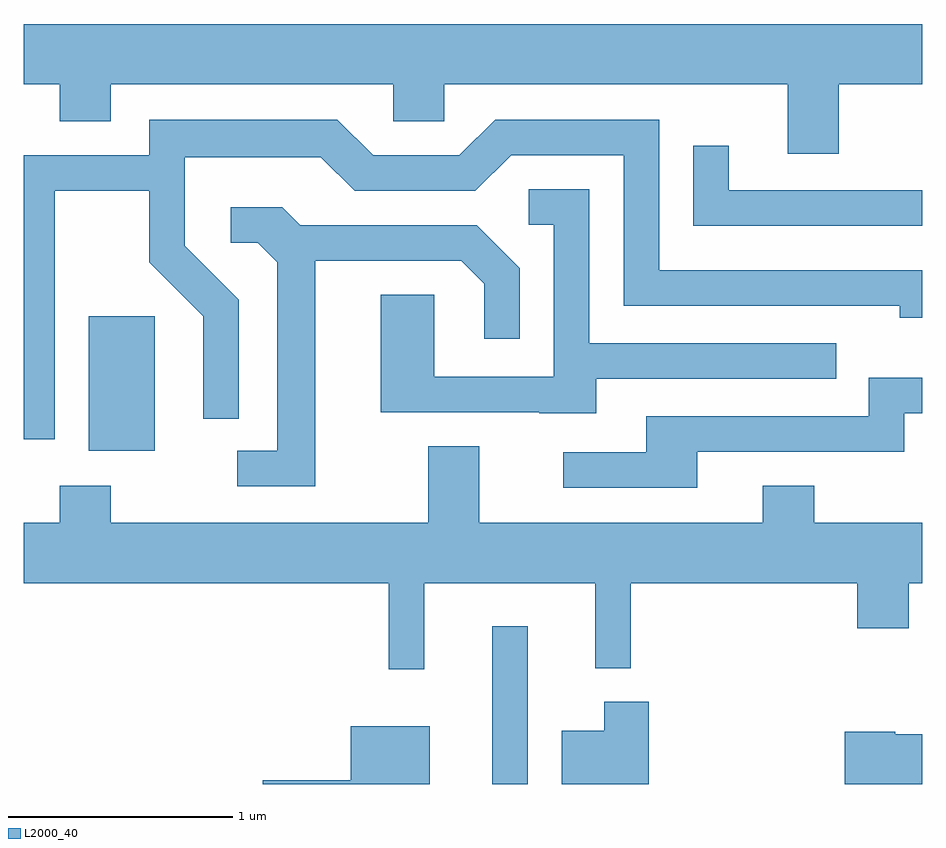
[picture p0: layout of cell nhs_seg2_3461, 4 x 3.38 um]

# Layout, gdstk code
import gdstk
lib = gdstk.Library(unit=1e-6, precision=1e-09)
def R(c, l, rs):  # rectangles x0, y0, x1, y1
    for r in rs: c.add(gdstk.rectangle(r[:2], r[2:], *l))
def P(c, l, *ps):  # polygons
    for p in ps: c.add(gdstk.Polygon(p, *l))
L2000_40 = (2000, 40)

nhs_seg2_3461 = lib.new_cell('nhs_seg2_3461')
R(nhs_seg2_3461, L2000_40, [(287.696,1111.802,287.854,1112.503), (285.901,1113.286,286.194,1113.884)])
P(nhs_seg2_3461, L2000_40, [(289.239,1114.916),(289.611,1114.916),(289.611,1115.184),(285.611,1115.184),(285.611,1114.916),(285.771,1114.916),(285.771,1114.751),(285.999,1114.751),(285.999,1114.916),(287.256,1114.916),(287.256,1114.751),(287.484,1114.751),(287.484,1114.916),(289.011,1114.916),(289.011,1114.606),(289.239,1114.606)],
  [(285.749,1114.441),(286.171,1114.441),(286.171,1114.124),(286.411,1113.884),(286.411,1113.428),(286.569,1113.428),(286.569,1113.957),(286.329,1114.197),(286.329,1114.591),(286.934,1114.591),(287.084,1114.441),(287.622,1114.441),(287.782,1114.601),(288.281,1114.601),(288.281,1113.931),(289.511,1113.931),(289.511,1113.876),(289.611,1113.876),(289.611,1114.089),(288.439,1114.089),(288.439,1114.759),(287.709,1114.759),(287.549,1114.599),(287.167,1114.599),(287.007,1114.759),(286.171,1114.759),(286.171,1114.599),(285.611,1114.599),(285.611,1113.336),(285.749,1113.336)],
  [(289.611,1114.444),(288.749,1114.444),(288.749,1114.643),(288.591,1114.643),(288.591,1114.286),(289.611,1114.286)],
  [(288.159,1113.606),(289.228,1113.606),(289.228,1113.764),(288.129,1113.764),(288.129,1114.449),(287.858,1114.449),(287.858,1114.291),(287.971,1114.291),(287.971,1113.614),(287.439,1113.614),(287.439,1113.979),(287.201,1113.979),(287.201,1113.456),(287.905,1113.456),(287.905,1113.451),(288.159,1113.451)],
  [(286.909,1114.131),(287.559,1114.131),(287.661,1114.029),(287.661,1113.783),(287.819,1113.783),(287.819,1114.097),(287.627,1114.289),(286.842,1114.289),(286.762,1114.369),(286.533,1114.369),(286.533,1114.211),(286.654,1114.211),(286.741,1114.124),(286.741,1113.284),(286.563,1113.284),(286.563,1113.126),(286.909,1113.126)],
  [(288.609,1113.281),(289.529,1113.281),(289.529,1113.451),(289.611,1113.451),(289.611,1113.609),(289.371,1113.609),(289.371,1113.439),(288.381,1113.439),(288.381,1113.279),(288.013,1113.279),(288.013,1113.121),(288.609,1113.121)],
  [(287.394,1112.696),(288.156,1112.696),(288.156,1112.318),(288.314,1112.318),(288.314,1112.696),(289.321,1112.696),(289.321,1112.496),(289.549,1112.496),(289.549,1112.696),(289.611,1112.696),(289.611,1112.964),(289.129,1112.964),(289.129,1113.129),(288.901,1113.129),(288.901,1112.964),(287.639,1112.964),(287.639,1113.304),(287.411,1113.304),(287.411,1112.964),(285.999,1112.964),(285.999,1113.129),(285.771,1113.129),(285.771,1112.964),(285.611,1112.964),(285.611,1112.696),(287.236,1112.696),(287.236,1112.313),(287.394,1112.313)],
  [(288.394,1112.169),(288.196,1112.169),(288.196,1112.039),(288.006,1112.039),(288.006,1111.802),(288.394,1111.802)],
  [(287.419,1112.059),(287.066,1112.059),(287.066,1111.819),(286.676,1111.819),(286.676,1111.802),(287.419,1111.802)],
  [(289.611,1112.024),(289.49,1112.024),(289.49,1112.034),(289.266,1112.034),(289.266,1111.802),(289.611,1111.802)])

lib.write_gds('nhs_seg2_3461.gds')
